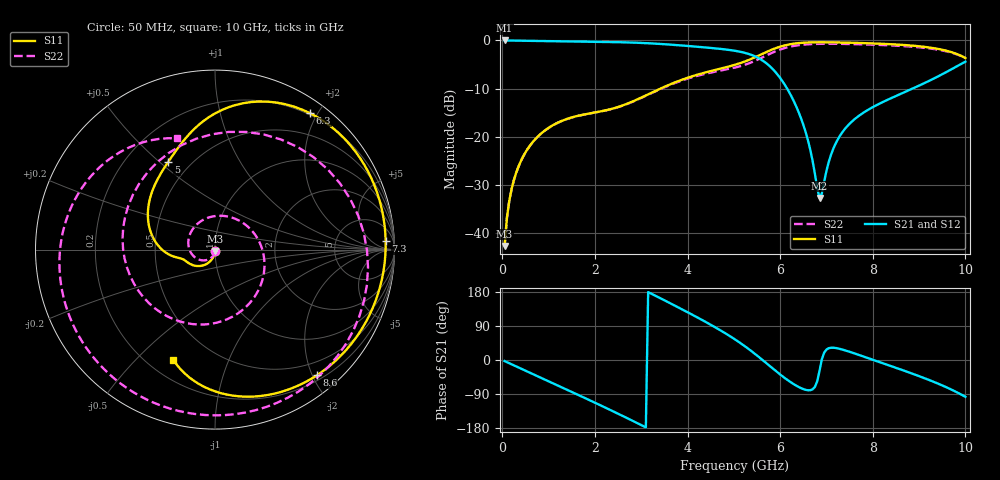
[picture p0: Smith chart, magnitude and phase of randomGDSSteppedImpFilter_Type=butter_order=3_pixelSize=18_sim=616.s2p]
! freq	dB(S11)	phase(S11)	dB(S12)	phase(S12)
!  dB(S21)	phase(S21)	dB(S22)	phase(S22)
!S-par simulation data
#  GHz  S  DB  R 50
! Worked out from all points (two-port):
!   200 points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, 50 MHz to 10 GHz, reference 50 ohm
!   highest |S21| = 0.00 dB at 50 MHz (marker M1); lowest = -32.7 dB at 6.85 GHz (marker M2)
!   |S21| within 3 dB of the highest: start of sweep to 5.377 GHz
!   lowest |S11| = -42.8 dB at 50 MHz (marker M3), VSWR 1.01, Z = 50 - j0.726 ohm
!   |S11| at or under -10 dB: start of sweep to 3.42 GHz
!   |S22| runs from -42.8 to -0.7 dB; largest |S21 - S12| = 0
!   S11 on the Smith chart (normalised r, x): 50 MHz: 1.00, -0.01; 5 GHz: 0.38, +0.53; 6.3 GHz: 0.18, +1.91; 7.3 GHz: 19, +20; 8.6 GHz: 0.28, -2.07; 10 GHz: 0.30, -0.65
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0.05  -42.78 -90.2  -0.00 -2.9  -0.00 -2.9  -42.80 -91.5
0.1  -36.89 -93.1  -0.01 -5.7  -0.01 -5.7  -36.91 -95.7
0.2  -30.96 -98.3  -0.02 -11.3  -0.02 -11.3  -30.99 -103.4
0.5  -23.29 -111.9  -0.06 -28.2  -0.06 -28.2  -23.32 -125.1
1.15  -17.34 -137.7  -0.16 -64.6  -0.16 -64.6  -17.35 -172.9
1.75  -15.44 -155.4  -0.24 -98.4  -0.24 -98.4  -15.46 137.1
2.65  -13.34 -168.0  -0.40 -150.6  -0.40 -150.6  -13.39 45.4
3.4  -10.09 176.8  -0.72 163.8  -0.72 163.8  -10.18 -30.3
4.3  -6.89 144.1  -1.39 106.6  -1.39 106.6  -7.14 -111.6
5  -5.13 118.1  -2.11 56.3  -2.11 56.3  -5.70 173.1
5.05  -4.99 116.4  -2.19 52.3  -2.19 52.3  -5.58 166.6
5.35  -3.95 105.7  -2.91 26.2  -2.91 26.2  -4.68 123.4
5.7  -2.42 90.2  -4.74 -8.1  -4.74 -8.1  -3.14 67.1
6  -1.29 73.3  -7.81 -38.2  -7.81 -38.2  -1.89 20.5
6.3  -0.66 55.0  -12.74 -64.3  -12.74 -64.3  -1.13 -19.0
6.7  -0.39 32.4  -25.02 -77.4  -25.02 -77.4  -0.75 -59.6
6.85  -0.38 24.6  -32.75 -28.7  -32.75 -28.7  -0.71 -71.9
7.3  -0.43 3.0  -19.71 29.0  -19.71 29.0  -0.71 -102.8
8.35  -0.76 -41.1  -12.21 -14.2  -12.21 -14.2  -1.01 -157.5
8.6  -0.90 -51.0  -11.13 -24.9  -11.13 -24.9  -1.14 -169.5
9.3  -1.58 -79.2  -8.01 -56.8  -8.01 -56.8  -1.76 155.0
10  -3.66 -110.8  -4.41 -97.1  -4.41 -97.1  -3.67 109.0
